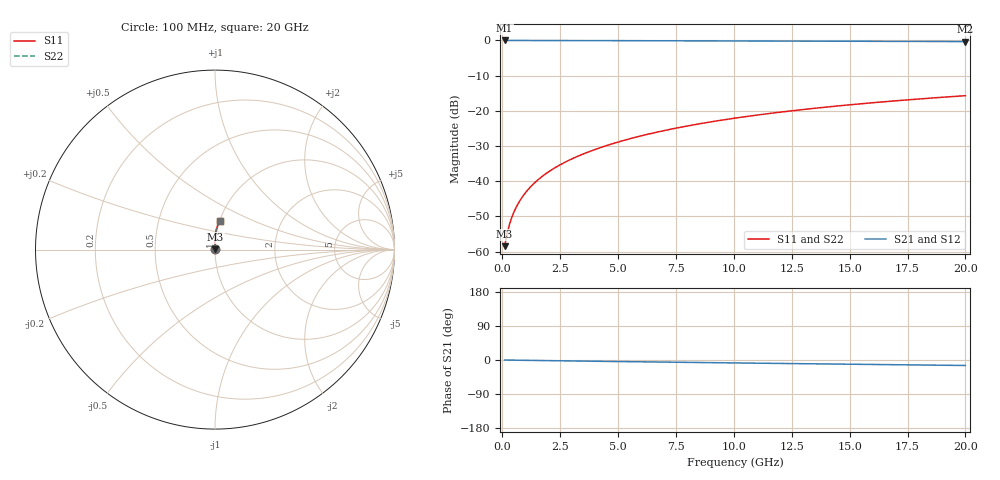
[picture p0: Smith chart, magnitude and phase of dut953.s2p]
! Touchstone file exported from HFSS 2024.1.0
!  File:  C:/UserFiles/LocalFiles/RDL_TSV_Batchsim/temp_RDL_bottom_953_1779942295.aedt
!  Generated:  12:27:20 PM May 28, 2026
!  Design:  RDL_bottom
!  Project:  temp_RDL_bottom_953_1779942295
!  Setup:  Setup1
!  Solution:  Sweep
! Variables:
!  dtsv = 10.80580581um
!  hbump = 3um
!  htsv = 71.05um
!  ldown = 159.93um
!  lrdl = 100um
!  p = 40
!  p1 = 59.15um
!  rhole = 1um
!  t = 450um
!  tdown = 3.12um
!  trdl = 3.915915916um
!  wdown = 27.84um
!  wrdl = 20um
# GHz S MA R 50.000000
! Terminal data exported
! Port[1] = RDL1_T1
! Port[2] = RDL1_T2
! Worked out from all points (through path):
!   200 points, 100 MHz to 20 GHz, reference 50 ohm
!   highest |S21| = -0.01 dB at 100 MHz (marker M1); lowest = -0.3 dB at 20 GHz (marker M2)
!   group delay of S21, straight-line fit = 1.98 ps
!   lowest |S11| = -58.5 dB at 100 MHz (marker M3), VSWR 1.00, Z = 50.1 + j0.0736 ohm
!   |S11| at or under -10 dB: start of sweep to end of sweep
!   |S22| runs from -58.5 to -15.7 dB; largest |S21 - S12| = 3.3e-15
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0.1  0.001192 38.1  0.9991 -0.1  0.9991 -0.1  0.001192 38.1
! Gamma 0 0 0 0
! Port Impedance 50 0 50 0
0.2  0.001746 56.0  0.999 -0.2  0.999 -0.2  0.001746 56.0
0.3  0.002363 64.5  0.9989 -0.3  0.9989 -0.3  0.002363 64.5
0.4  0.002992 69.5  0.9989 -0.3  0.9989 -0.3  0.002992 69.5
0.5  0.003624 73.0  0.9988 -0.4  0.9988 -0.4  0.003624 73.0
0.6  0.00426 75.5  0.9988 -0.5  0.9988 -0.5  0.00426 75.5
0.8  0.005546 79.0  0.9986 -0.7  0.9986 -0.7  0.005546 79.0
1.1  0.007508 82.4  0.9984 -0.9  0.9984 -0.9  0.007508 82.4
1.5  0.01018 85.2  0.9981 -1.3  0.9981 -1.3  0.01018 85.2
1.8  0.01222 86.6  0.9978 -1.5  0.9978 -1.5  0.01222 86.6
2.1  0.01428 87.6  0.9975 -1.8  0.9975 -1.8  0.01428 87.6
2.7  0.01852 89.2  0.9966 -2.3  0.9966 -2.3  0.01852 89.2
3.5  0.02437 90.5  0.9953 -2.9  0.9953 -2.9  0.02437 90.5
4.2  0.02969 91.2  0.9941 -3.5  0.9941 -3.5  0.02969 91.2
5  0.03597 91.5  0.9925 -4.1  0.9925 -4.1  0.03597 91.5
5.9  0.04326 91.6  0.9906 -4.8  0.9906 -4.8  0.04326 91.6
6.8  0.05074 91.4  0.9887 -5.4  0.9887 -5.4  0.05074 91.4
8.4  0.06437 90.6  0.9854 -6.6  0.9854 -6.6  0.06436 90.6
10.1  0.07909 89.4  0.982 -7.8  0.982 -7.8  0.07909 89.4
13.4  0.1078 86.6  0.9757 -10.1  0.9757 -10.1  0.1078 86.6
16.7  0.1362 83.7  0.9697 -12.3  0.9697 -12.3  0.1362 83.7
20  0.164 80.9  0.9635 -14.5  0.9635 -14.5  0.164 80.9
